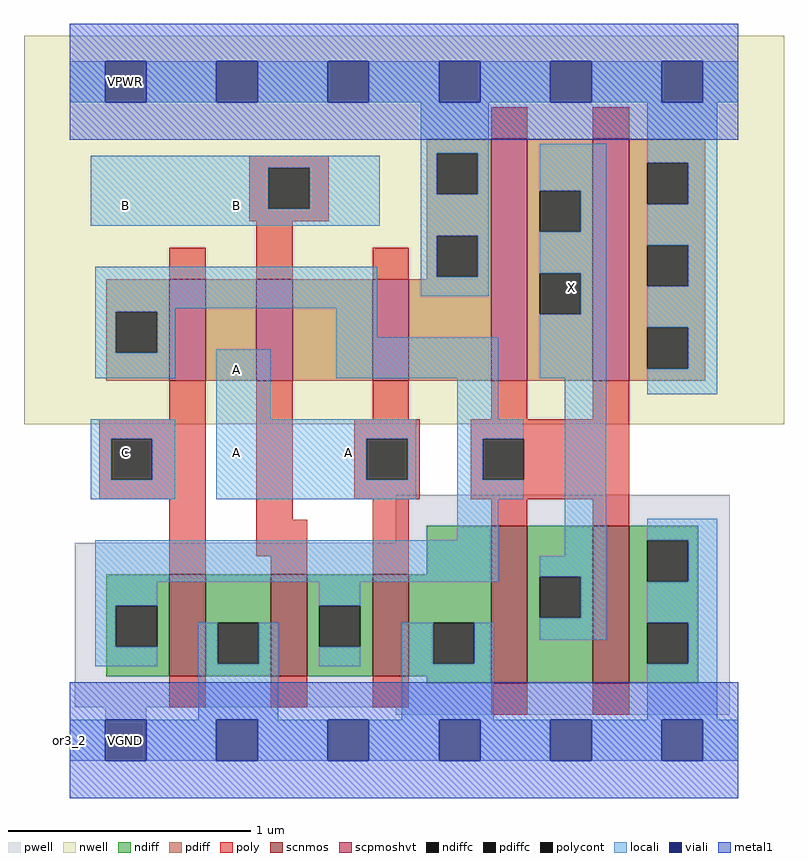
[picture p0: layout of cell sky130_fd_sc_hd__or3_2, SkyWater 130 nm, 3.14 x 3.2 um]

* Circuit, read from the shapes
.subckt sky130_fd_sc_hd__or3_2 VGND VPWR VPB VNB B C A X
XM1 VGND C n1 VNB sky130_fd_pr__nfet_01v8 w=0.42 l=0.15
XM2 n1 B VGND VNB sky130_fd_pr__nfet_01v8 w=0.42 l=0.15
XM3 VGND A n1 VNB sky130_fd_pr__nfet_01v8 w=0.42 l=0.15
XM4 X n1 VGND VNB sky130_fd_pr__nfet_01v8 w=0.65 l=0.15 m=2
XM5 n2 C n1 VPB sky130_fd_pr__pfet_01v8_hvt w=0.42 l=0.15
XM6 n3 B n2 VPB sky130_fd_pr__pfet_01v8_hvt w=0.42 l=0.15
XM7 VPWR A n3 VPB sky130_fd_pr__pfet_01v8_hvt w=0.42 l=0.15
XM8 X n1 VPWR VPB sky130_fd_pr__pfet_01v8_hvt w=1 l=0.15 m=2
.ends

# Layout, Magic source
magic
tech sky130B
magscale 1 2
<< nwell >>
rect -38 221 590 542
<< pwell >>
rect 269 123 545 163
rect 4 -13 545 123
rect 29 -57 63 -13
rect 269 -19 545 -13
<< scnmos >>
rect 82 13 112 97
rect 166 13 196 97
rect 250 13 280 97
rect 348 7 378 137
rect 432 7 462 137
<< scpmoshvt >>
rect 82 257 112 341
rect 154 257 184 341
rect 250 257 280 341
rect 348 257 378 457
rect 432 257 462 457
<< ndiff >>
rect 295 97 348 137
rect 30 71 82 97
rect 30 37 38 71
rect 72 37 82 71
rect 30 13 82 37
rect 112 57 166 97
rect 112 23 122 57
rect 156 23 166 57
rect 112 13 166 23
rect 196 71 250 97
rect 196 37 206 71
rect 240 37 250 71
rect 196 13 250 37
rect 280 57 348 97
rect 280 23 300 57
rect 334 23 348 57
rect 280 13 348 23
rect 295 7 348 13
rect 378 95 432 137
rect 378 61 388 95
rect 422 61 432 95
rect 378 7 432 61
rect 462 125 519 137
rect 462 91 477 125
rect 511 91 519 125
rect 462 57 519 91
rect 462 23 477 57
rect 511 23 519 57
rect 462 7 519 23
<< pdiff >>
rect 295 445 348 457
rect 295 411 303 445
rect 337 411 348 445
rect 295 377 348 411
rect 295 343 303 377
rect 337 343 348 377
rect 295 341 348 343
rect 30 314 82 341
rect 30 280 38 314
rect 72 280 82 314
rect 30 257 82 280
rect 112 257 154 341
rect 184 257 250 341
rect 280 257 348 341
rect 378 414 432 457
rect 378 380 388 414
rect 422 380 432 414
rect 378 346 432 380
rect 378 312 388 346
rect 422 312 432 346
rect 378 257 432 312
rect 462 437 525 457
rect 462 403 477 437
rect 511 403 525 437
rect 462 369 525 403
rect 462 335 477 369
rect 511 335 525 369
rect 462 301 525 335
rect 462 267 477 301
rect 511 267 525 301
rect 462 257 525 267
<< ndiffc >>
rect 38 37 72 71
rect 122 23 156 57
rect 206 37 240 71
rect 300 23 334 57
rect 388 61 422 95
rect 477 91 511 125
rect 477 23 511 57
<< pdiffc >>
rect 303 411 337 445
rect 303 343 337 377
rect 38 280 72 314
rect 388 380 422 414
rect 388 312 422 346
rect 477 403 511 437
rect 477 335 511 369
rect 477 267 511 301
<< poly >>
rect 348 457 378 483
rect 432 457 462 483
rect 148 433 214 443
rect 148 399 164 433
rect 198 399 214 433
rect 148 389 214 399
rect 82 341 112 367
rect 154 341 184 389
rect 250 341 280 367
rect 82 225 112 257
rect 24 209 112 225
rect 24 175 34 209
rect 68 175 112 209
rect 24 159 112 175
rect 82 97 112 159
rect 154 142 184 257
rect 250 225 280 257
rect 348 225 378 257
rect 432 225 462 257
rect 235 209 289 225
rect 235 175 245 209
rect 279 175 289 209
rect 235 159 289 175
rect 331 209 462 225
rect 331 175 341 209
rect 375 175 462 209
rect 331 159 462 175
rect 154 112 196 142
rect 166 97 196 112
rect 250 97 280 159
rect 348 137 378 159
rect 432 137 462 159
rect 82 -13 112 13
rect 166 -13 196 13
rect 250 -13 280 13
rect 348 -19 378 7
rect 432 -19 462 7
<< polycont >>
rect 164 399 198 433
rect 34 175 68 209
rect 245 175 279 209
rect 341 175 375 209
<< locali >>
rect 0 487 29 521
rect 63 487 121 521
rect 155 487 213 521
rect 247 487 305 521
rect 339 487 397 521
rect 431 487 489 521
rect 523 487 552 521
rect 290 445 346 487
rect 17 433 256 443
rect 17 399 164 433
rect 198 399 256 433
rect 17 385 256 399
rect 290 411 303 445
rect 337 411 346 445
rect 290 377 346 411
rect 21 317 254 351
rect 290 343 303 377
rect 337 343 346 377
rect 290 327 346 343
rect 388 414 443 453
rect 422 380 443 414
rect 388 346 443 380
rect 21 314 87 317
rect 21 280 38 314
rect 72 280 87 314
rect 220 293 254 317
rect 422 312 443 346
rect 21 259 87 280
rect 121 225 166 283
rect 220 259 354 293
rect 388 259 443 312
rect 320 225 354 259
rect 17 209 87 225
rect 17 175 34 209
rect 68 175 87 209
rect 17 159 87 175
rect 121 209 286 225
rect 121 175 245 209
rect 279 175 286 209
rect 121 159 286 175
rect 320 209 375 225
rect 320 175 341 209
rect 320 159 375 175
rect 320 125 354 159
rect 21 91 354 125
rect 409 112 443 259
rect 477 437 535 487
rect 511 403 535 437
rect 477 369 535 403
rect 511 335 535 369
rect 477 301 535 335
rect 511 267 535 301
rect 477 246 535 267
rect 388 95 443 112
rect 21 71 72 91
rect 21 37 38 71
rect 206 71 240 91
rect 21 21 72 37
rect 106 23 122 57
rect 156 23 172 57
rect 106 -23 172 23
rect 422 61 443 95
rect 206 21 240 37
rect 274 23 300 57
rect 334 23 350 57
rect 388 43 443 61
rect 477 125 535 143
rect 511 91 535 125
rect 477 57 535 91
rect 274 -23 350 23
rect 511 23 535 57
rect 477 -23 535 23
rect 0 -57 29 -23
rect 63 -57 121 -23
rect 155 -57 213 -23
rect 247 -57 305 -23
rect 339 -57 397 -23
rect 431 -57 489 -23
rect 523 -57 552 -23
<< viali >>
rect 29 487 63 521
rect 121 487 155 521
rect 213 487 247 521
rect 305 487 339 521
rect 397 487 431 521
rect 489 487 523 521
rect 29 -57 63 -23
rect 121 -57 155 -23
rect 213 -57 247 -23
rect 305 -57 339 -23
rect 397 -57 431 -23
rect 489 -57 523 -23
<< metal1 >>
rect 0 521 552 552
rect 0 487 29 521
rect 63 487 121 521
rect 155 487 213 521
rect 247 487 305 521
rect 339 487 397 521
rect 431 487 489 521
rect 523 487 552 521
rect 0 456 552 487
rect 0 -23 552 8
rect 0 -57 29 -23
rect 63 -57 121 -23
rect 155 -57 213 -23
rect 247 -57 305 -23
rect 339 -57 397 -23
rect 431 -57 489 -23
rect 523 -57 552 -23
rect 0 -88 552 -57
<< labels >>
rlabel comment s 0 -40 0 -40 4 or3_2
flabel metal1 s 29 -57 63 -23 0 FreeSans 200 0 0 0 VGND
port 2 nsew
flabel metal1 s 29 487 63 521 0 FreeSans 200 0 0 0 VPWR
port 3 nsew
flabel nwell s 29 487 63 521 0 FreeSans 200 0 0 0 VPB
port 5 nsew
flabel pwell s 29 -57 63 -23 0 FreeSans 200 0 0 0 VNB
port 6 nsew
flabel locali s 121 181 155 215 0 FreeSans 400 0 0 0 A
port 9 nsew
flabel locali s 213 181 247 215 0 FreeSans 400 0 0 0 A
port 9 nsew
flabel locali s 29 385 63 419 0 FreeSans 400 0 0 0 B
port 7 nsew
flabel locali s 397 317 431 351 0 FreeSans 200 0 0 0 X
port 10 nsew
flabel locali s 121 249 155 283 0 FreeSans 400 0 0 0 A
port 9 nsew
flabel locali s 121 385 155 419 0 FreeSans 400 0 0 0 B
port 7 nsew
flabel locali s 29 181 63 215 0 FreeSans 400 0 0 0 C
port 8 nsew
<< properties >>
string FIXED_BBOX 0 -40 552 504
string path 0.000 -1.000 13.800 -1.000 
<< end >>
